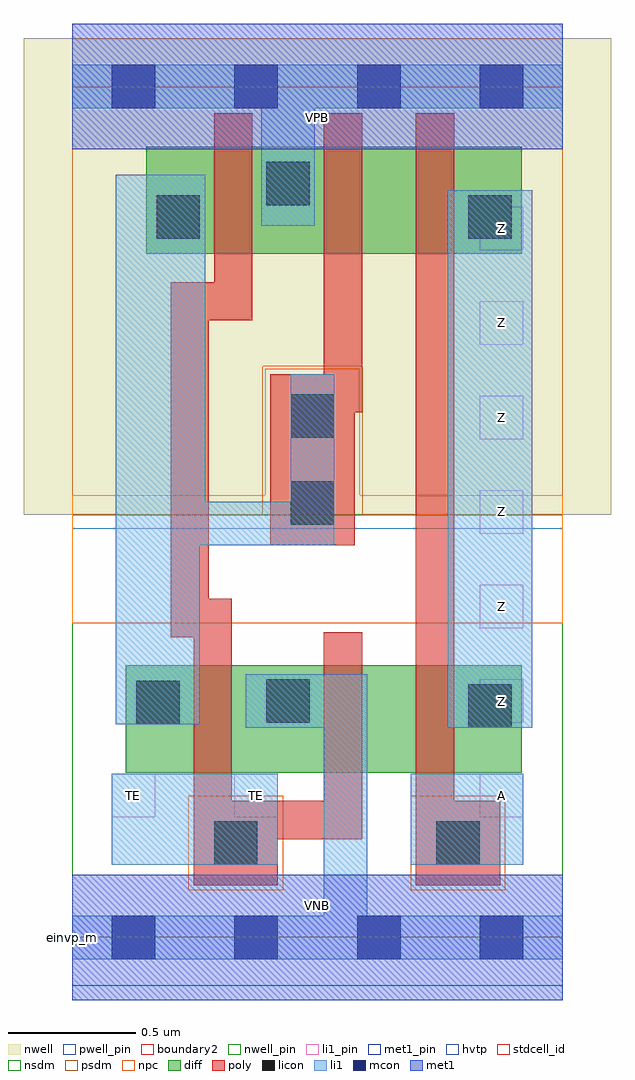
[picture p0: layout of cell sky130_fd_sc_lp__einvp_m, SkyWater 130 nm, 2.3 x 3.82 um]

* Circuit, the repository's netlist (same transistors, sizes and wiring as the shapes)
* Copyright 2020 The SkyWater PDK Authors
*
* Licensed under the Apache License, Version 2.0 (the "License");
* you may not use this file except in compliance with the License.
* You may obtain a copy of the License at
*
*     https://www.apache.org/licenses/LICENSE-2.0
*
* Unless required by applicable law or agreed to in writing, software
* distributed under the License is distributed on an "AS IS" BASIS,
* WITHOUT WARRANTIES OR CONDITIONS OF ANY KIND, either express or implied.
* See the License for the specific language governing permissions and
* limitations under the License.
*
* SPDX-License-Identifier: Apache-2.0

.SUBCKT sky130_fd_sc_lp__einvp_m A TE VGND VNB VPB VPWR Z
*.PININFO A:I TE:I VGND:I VNB:I VPB:I VPWR:I Z:O
MMN0 Z A sndA VNB sky130_fd_pr__nfet_01v8 m=1 w=0.42U l=0.15U mult=1 sa=0.265 sb=0.265
+ sd=0.28 area=0.063 perim=1.14
MMN1 sndA TE VGND VNB sky130_fd_pr__nfet_01v8 m=1 w=0.42U l=0.15U mult=1 sa=0.265
+ sb=0.265 sd=0.28 area=0.063 perim=1.14
MMIN1 TEB TE VGND VNB sky130_fd_pr__nfet_01v8 m=1 w=0.42U l=0.15U mult=1 sa=0.265
+ sb=0.265 sd=0.28 area=0.063 perim=1.14
MMP0 VPWR TEB sndTEB VPB sky130_fd_pr__pfet_01v8_hvt m=1 w=0.42U l=0.15U mult=1
+ sa=0.265 sb=0.265 sd=0.28 area=0.063 perim=1.14
MMP1 sndTEB A Z VPB sky130_fd_pr__pfet_01v8_hvt m=1 w=0.42U l=0.15U mult=1 sa=0.265
+ sb=0.265 sd=0.28 area=0.063 perim=1.14
MMIP1 TEB TE VPWR VPB sky130_fd_pr__pfet_01v8_hvt m=1 w=0.42U l=0.15U mult=1 sa=0.265
+ sb=0.265 sd=0.28 area=0.063 perim=1.14
.ENDS sky130_fd_sc_lp__einvp_m

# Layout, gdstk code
import gdstk
lib = gdstk.Library(unit=1e-6, precision=1e-09)
def R(c, l, rs):  # rectangles x0, y0, x1, y1
    for r in rs: c.add(gdstk.rectangle(r[:2], r[2:], *l))
def A(c, l, x, y, w, h, nx, ny, dx, dy):  # array of equal rectangles
    R(c, l, [(x+i*dx, y+j*dy, x+i*dx+w, y+j*dy+h) for i in range(nx) for j in range(ny)])
def P(c, l, *ps):  # polygons
    for p in ps: c.add(gdstk.Polygon(p, *l))
nwell_pin = (64, 16)
nwell = (64, 20)
diff = (65, 20)
poly = (66, 20)
licon = (66, 44)
li1_pin = (67, 16)
li1 = (67, 20)
mcon = (67, 44)
met1_pin = (68, 16)
met1 = (68, 20)
hvtp = (78, 44)
stdcell_id = (81, 4)
nsdm = (93, 44)
psdm = (94, 20)
npc = (95, 20)
pwell_pin = (122, 16)
boundary2 = (236, 0)

sky130_fd_sc_lp__einvp_m = lib.new_cell('sky130_fd_sc_lp__einvp_m')
R(sky130_fd_sc_lp__einvp_m, nwell_pin, [(0,3.085,1.92,3.33)])
R(sky130_fd_sc_lp__einvp_m, nwell, [(-0.19,1.655,2.11,3.52)])
R(sky130_fd_sc_lp__einvp_m, diff, [(0.21,0.645,1.76,1.065), (0.29,2.675,1.76,3.095)])
P(sky130_fd_sc_lp__einvp_m, poly, [(1.135,3.225),(0.985,3.225),(0.985,2.205),(0.775,2.205),(0.775,1.535),(1.105,1.535),(1.105,2.055),(1.135,2.055)],
  [(1.135,1.195),(0.985,1.195),(0.985,0.535),(0.625,0.535),(0.625,1.325),(0.535,1.325),(0.535,2.415),(0.705,2.415),(0.705,3.225),(0.555,3.225),(0.555,2.565),(0.385,2.565),(0.385,1.175),(0.475,1.175),(0.475,0.205),(0.805,0.205),(0.805,0.385),(1.135,0.385)],
  [(1.675,0.535),(1.495,0.535),(1.495,3.225),(1.345,3.225),(1.345,0.205),(1.675,0.205)])
R(sky130_fd_sc_lp__einvp_m, licon, [(0.555,0.285,0.725,0.455), (1.425,0.285,1.595,0.455), (1.55,0.82,1.72,0.99), (0.25,0.835,0.42,1.005), (0.76,0.84,0.93,1.01), (0.855,1.615,1.025,1.785), (0.855,1.955,1.025,2.125), (0.33,2.735,0.5,2.905), (1.55,2.735,1.72,2.905), (0.76,2.865,0.93,3.035)])
A(sky130_fd_sc_lp__einvp_m, li1_pin, 1.595, 0.47, 0.17, 0.17, 1, 7, 0, 0.37)
R(sky130_fd_sc_lp__einvp_m, li1_pin, [(0.155,0.47,0.325,0.64), (0.635,0.47,0.805,0.64)])
R(sky130_fd_sc_lp__einvp_m, li1, [(0.155,0.285,0.805,0.64), (1.325,0.285,1.765,0.64), (1.47,0.82,1.8,2.925)])
P(sky130_fd_sc_lp__einvp_m, li1, [(0.74,2.785),(0.74,3.245),(0,3.245),(0,3.415),(1.92,3.415),(1.92,3.245),(0.95,3.245),(0.95,2.785)],
  [(0.985,0.085),(0.985,0.82),(0.68,0.82),(0.68,1.03),(1.155,1.03),(1.155,0.085),(1.92,0.085),(1.92,-0.085),(0,-0.085),(0,0.085)],
  [(0.5,1.535),(0.5,0.835),(0.17,0.835),(0.17,2.985),(0.52,2.985),(0.52,1.705),(0.855,1.705),(0.855,2.205),(1.025,2.205),(1.025,1.535)])
A(sky130_fd_sc_lp__einvp_m, mcon, 0.155, -0.085, 0.17, 0.17, 4, 2, 0.48, 3.33)
R(sky130_fd_sc_lp__einvp_m, met1_pin, [(0,0,1.92,0.245), (0,3.085,1.92,3.33)])
R(sky130_fd_sc_lp__einvp_m, met1, [(0,-0.245,1.92,0.245), (0,3.085,1.92,3.575)])
R(sky130_fd_sc_lp__einvp_m, hvtp, [(0,1.6,1.92,3.33)])
R(sky130_fd_sc_lp__einvp_m, stdcell_id, [(0,0,1.92,3.33)])
R(sky130_fd_sc_lp__einvp_m, nsdm, [(0,-0.19,1.92,1.655)])
P(sky130_fd_sc_lp__einvp_m, psdm, [(1.92,3.52),(0,3.52),(0,1.655),(0.745,1.655),(0.745,2.235),(1.135,2.235),(1.135,1.655),(1.92,1.655)])
R(sky130_fd_sc_lp__einvp_m, npc, [(0.455,0.185,0.825,0.555), (1.325,0.185,1.695,0.555)])
P(sky130_fd_sc_lp__einvp_m, npc, [(1.92,1.73),(1.125,1.73),(1.125,2.225),(0.755,2.225),(0.755,1.73),(0,1.73),(0,1.23),(1.92,1.23)])
R(sky130_fd_sc_lp__einvp_m, pwell_pin, [(0,0,1.92,0.245)])
R(sky130_fd_sc_lp__einvp_m, boundary2, [(0,0,1.92,3.33)])
sky130_fd_sc_lp__einvp_m.add(gdstk.Label('VNB', (0.96,0.123), layer=64, texttype=59))
sky130_fd_sc_lp__einvp_m.add(gdstk.Label('VPB', (0.96,3.208), layer=64, texttype=5))
sky130_fd_sc_lp__einvp_m.add(gdstk.Label('einvp_m', (0,0), layer=83, texttype=44))
sky130_fd_sc_lp__einvp_m.add(gdstk.Label('VPWR', (0.96,3.208), layer=68, texttype=5))
sky130_fd_sc_lp__einvp_m.add(gdstk.Label('VGND', (0.96,0.123), layer=68, texttype=5))
sky130_fd_sc_lp__einvp_m.add(gdstk.Label('A', (1.68,0.555), layer=67, texttype=5))
sky130_fd_sc_lp__einvp_m.add(gdstk.Label('Z', (1.68,0.925), layer=67, texttype=5))
sky130_fd_sc_lp__einvp_m.add(gdstk.Label('Z', (1.68,1.295), layer=67, texttype=5))
sky130_fd_sc_lp__einvp_m.add(gdstk.Label('Z', (1.68,1.665), layer=67, texttype=5))
sky130_fd_sc_lp__einvp_m.add(gdstk.Label('Z', (1.68,2.035), layer=67, texttype=5))
sky130_fd_sc_lp__einvp_m.add(gdstk.Label('Z', (1.68,2.405), layer=67, texttype=5))
sky130_fd_sc_lp__einvp_m.add(gdstk.Label('Z', (1.68,2.775), layer=67, texttype=5))
sky130_fd_sc_lp__einvp_m.add(gdstk.Label('TE', (0.24,0.555), layer=67, texttype=5))
sky130_fd_sc_lp__einvp_m.add(gdstk.Label('TE', (0.72,0.555), layer=67, texttype=5))

lib.write_gds('sky130_fd_sc_lp__einvp_m.gds')
